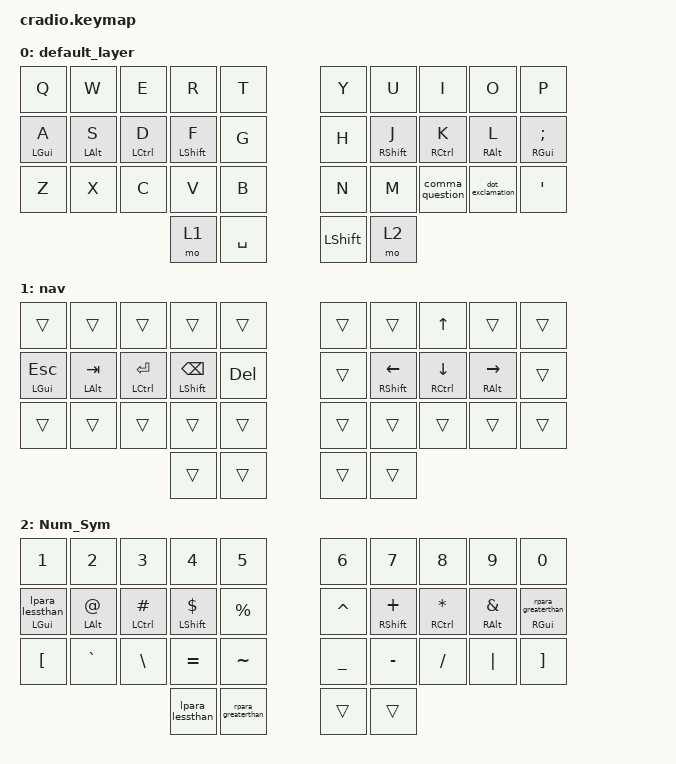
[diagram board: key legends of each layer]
// Copyright (c) 2022 The ZMK Contributors
// SPDX-License-Identifier: MIT

#include <behaviors.dtsi>
#include <dt-bindings/zmk/keys.h>

// Home row mods macro
//#define HRML(k1,k2,k3,k4) &ht LSHFT k1  &ht LALT k2  &ht LCTRL k3  &ht LGUI k4
//#define HRMR(k1,k2,k3,k4) &ht RGUI k1  &ht RCTRL k2  &ht RALT k3  &ht RSHFT k4

&mt {
    tapping-term-ms = <300>;
    flavor = "balanced";
};

/ {
    behaviors {
        hml: hml {
            compatible = "zmk,behavior-hold-tap";
            #binding-cells = <2>;
            flavor = "balanced";
            tapping-term-ms = <280>;
            quick-tap-ms = <175>;
            require-prior-idle-ms = <250>;
            bindings = <&kp>, <&kp>;

            hold-trigger-on-release;
            hold-trigger-key-positions = <32 31 30 33 5 6 7 8 9 15 16 17 18 19 25 26 27 28 29>;
        };

        hmr: hmr {
            compatible = "zmk,behavior-hold-tap";
            #binding-cells = <2>;
            flavor = "balanced";
            tapping-term-ms = <280>;
            quick-tap-ms = <175>;
            require-prior-idle-ms = <250>;
            bindings = <&kp>, <&kp>;

            hold-trigger-on-release;
            hold-trigger-key-positions = <30 31 32 33 0 1 2 3 4 10 11 12 13 14 20 21 22 23 24>;
        };

        comma_question: comma_question {
            compatible = "zmk,behavior-mod-morph";
            label = "COMMA_QUESTION";
            bindings = <&kp COMMA>, <&kp QUESTION>;

            #binding-cells = <0>;
            mods = <(MOD_LSFT|MOD_RSFT)>;
        };

        dot_exclamation: dot_exclamation {
            compatible = "zmk,behavior-mod-morph";
            label = "DOT_EXCLAMATION";
            bindings = <&kp DOT>, <&kp EXCL>;

            #binding-cells = <0>;
            mods = <(MOD_LSFT|MOD_RSFT)>;
        };

        lpara_lessthan: lpara_lessthan {
            compatible = "zmk,behavior-mod-morph";
            label = "LPARA_LESSTHAN";
            bindings = <&kp LEFT_PARENTHESIS>, <&kp LESS_THAN>;

            #binding-cells = <0>;
            mods = <(MOD_LSFT|MOD_RSFT)>;
        };

        rpara_greaterthan: rpara_greaterthan {
            compatible = "zmk,behavior-mod-morph";
            label = "RPARA_GREATERTHAN";
            bindings = <&kp RIGHT_PARENTHESIS>, <&kp GREATER_THAN>;

            #binding-cells = <0>;
            mods = <(MOD_LSFT|MOD_RSFT)>;
        };

        lp: lp {
            compatible = "zmk,behavior-hold-tap";
            #binding-cells = <2>;
            flavor = "balanced";
            tapping-term-ms = <280>;
            quick-tap-ms = <175>;
            require-prior-idle-ms = <250>;
            bindings = <&kp>, <&lpara_lessthan>;

            hold-trigger-on-release;
            hold-trigger-key-positions = <32 31 30 33 5 6 7 8 9 15 16 17 18 19 25 26 27 28 29>;
            label = "LP";
        };

        rp: rp {
            compatible = "zmk,behavior-hold-tap";
            #binding-cells = <2>;
            flavor = "balanced";
            tapping-term-ms = <280>;
            quick-tap-ms = <175>;
            require-prior-idle-ms = <250>;
            bindings = <&kp>, <&rpara_greaterthan>;

            hold-trigger-on-release;
            hold-trigger-key-positions = <30 31 32 33 0 1 2 3 4 10 11 12 13 14 20 21 22 23 24>;
            label = "RP";
        };
    };

    conditional_layers { compatible = "zmk,conditional-layers"; };

    combos {
        compatible = "zmk,combos";

        ComboMouse {
            bindings = <&to 0>;
            key-positions = <30 33>;
        };
    };

    keymap {
        compatible = "zmk,keymap";

        default_layer {
            bindings = <
&kp Q        &kp W        &kp E         &kp R              &kp T        &kp Y      &kp U         &kp I            &kp O             &kp P
&hml LGUI A  &hml LALT S  &hml LCTRL D  &hml LEFT_SHIFT F  &kp G        &kp H      &hmr RSHFT J  &hmr RCTRL K     &hmr RIGHT_ALT L  &hmr RGUI SEMI
&kp Z        &kp X        &kp C         &kp V              &kp B        &kp N      &kp M         &comma_question  &dot_exclamation  &kp APOS
                                        &mo 1              &kp SPACE    &kp LSHFT  &mo 2
            >;
        };

        nav {
            bindings = <
&trans                &trans             &trans                 &trans                     &trans     &trans  &trans                       &kp UP                   &trans                &trans
&hml LEFT_GUI ESCAPE  &hml LEFT_ALT TAB  &hml LEFT_CONTROL RET  &hml LEFT_SHIFT BACKSPACE  &kp DEL    &trans  &hmr RIGHT_SHIFT LEFT_ARROW  &hmr RIGHT_CONTROL DOWN  &hmr RIGHT_ALT RIGHT  &trans
&trans                &trans             &trans                 &trans                     &trans     &trans  &trans                       &trans                   &trans                &trans
                                                                &trans                     &trans     &trans  &trans
            >;
        };

        Num_Sym {
            bindings = <
&kp N1            &kp N2            &kp N3                  &kp N4                  &kp N5                &kp N6     &kp N7                 &kp N8                       &kp N9                    &kp N0
&lp LEFT_GUI 0    &hml LEFT_ALT AT  &hml LEFT_CONTROL HASH  &hml LEFT_SHIFT DOLLAR  &kp PERCENT           &kp CARET  &hmr RIGHT_SHIFT PLUS  &hmr RIGHT_CONTROL ASTERISK  &hmr RIGHT_ALT AMPERSAND  &rp RIGHT_GUI 0
&kp LEFT_BRACKET  &kp GRAVE         &kp BACKSLASH           &kp EQUAL               &kp TILDE             &kp UNDER  &kp MINUS              &kp SLASH                    &kp PIPE                  &kp RIGHT_BRACKET
                                                            &lpara_lessthan         &rpara_greaterthan    &trans     &trans
            >;
        };
    };
};
